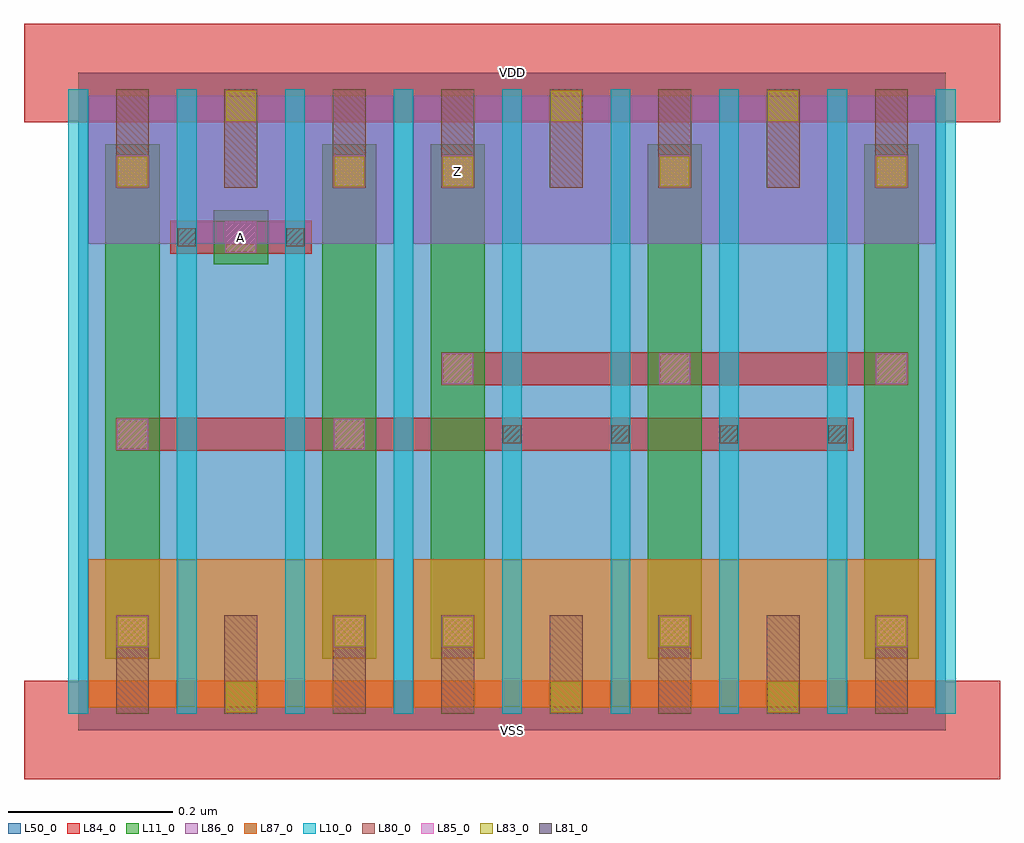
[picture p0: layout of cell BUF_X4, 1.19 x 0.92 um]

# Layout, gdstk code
import gdstk
lib = gdstk.Library(unit=1e-6, precision=1e-09)
def R(c, l, rs):  # rectangles x0, y0, x1, y1
    for r in rs: c.add(gdstk.rectangle(r[:2], r[2:], *l))
def A(c, l, x, y, w, h, nx, ny, dx, dy):  # array of equal rectangles
    R(c, l, [(x+i*dx, y+j*dy, x+i*dx+w, y+j*dy+h) for i in range(nx) for j in range(ny)])
L10_0 = (10, 0)
L11_0 = (11, 0)
L50_0 = (50, 0)
L80_0 = (80, 0)
L81_0 = (81, 0)
L83_0 = (83, 0)
L84_0 = (84, 0)
L85_0 = (85, 0)
L86_0 = (86, 0)
L87_0 = (87, 0)

buf_x4 = lib.new_cell('BUF_X4')
A(buf_x4, L10_0, -0.012, 0.02, 0.024, 0.76, 9, 1, 0.132, 0)
A(buf_x4, L11_0, 0.429, 0.087, 0.066, 0.626, 3, 1, 0.264, 0)
R(buf_x4, L11_0, [(0.033,0.087,0.099,0.713), (0.297,0.087,0.363,0.713), (0.165,0.567,0.231,0.633)])
R(buf_x4, L50_0, [(0,0,1.056,0.8)])
A(buf_x4, L80_0, 0.046, 0.02, 0.04, 0.12, 8, 2, 0.132, 0.64)
A(buf_x4, L81_0, 0.517, 0.349, 0.022, 0.022, 4, 1, 0.132, 0)
R(buf_x4, L81_0, [(0.121,0.589,0.143,0.611), (0.253,0.589,0.275,0.611)])
A(buf_x4, L83_0, 0.444, 0.102, 0.036, 0.036, 3, 2, 0.264, 0.56)
R(buf_x4, L83_0, [(0.18,0.022,0.216,0.058), (0.576,0.022,0.612,0.058), (0.84,0.022,0.876,0.058), (0.048,0.102,0.084,0.138), (0.312,0.102,0.348,0.138), (0.048,0.662,0.084,0.698), (0.312,0.662,0.348,0.698), (0.18,0.742,0.216,0.778), (0.576,0.742,0.612,0.778), (0.84,0.742,0.876,0.778)])
A(buf_x4, L84_0, 0.442, 0.1, 0.04, 0.04, 3, 2, 0.264, 0.56)
R(buf_x4, L84_0, [(-0.066,-0.06,1.122,0.06), (0.046,0.1,0.086,0.14), (0.31,0.1,0.35,0.14), (0.046,0.34,0.944,0.38), (0.442,0.42,1.01,0.46), (0.112,0.58,0.284,0.62), (0.046,0.66,0.086,0.7), (0.31,0.66,0.35,0.7), (-0.066,0.74,1.122,0.86)])
A(buf_x4, L85_0, 0.443, 0.101, 0.038, 0.038, 3, 2, 0.264, 0.32)
A(buf_x4, L85_0, 0.443, 0.661, 0.038, 0.038, 3, 1, 0.264, 0)
R(buf_x4, L85_0, [(0.047,0.101,0.085,0.139), (0.311,0.101,0.349,0.139), (0.047,0.341,0.085,0.379), (0.311,0.341,0.349,0.379), (0.179,0.581,0.217,0.619), (0.047,0.661,0.085,0.699), (0.311,0.661,0.349,0.699)])
R(buf_x4, L86_0, [(0.012,0.592,0.384,0.772), (0.408,0.592,1.044,0.772)])
R(buf_x4, L87_0, [(0.012,0.028,0.384,0.208), (0.408,0.028,1.044,0.208)])
buf_x4.add(gdstk.Label('VDD', (0.528,0.8), layer=88, texttype=0))
buf_x4.add(gdstk.Label('VSS', (0.528,0), layer=88, texttype=0))
buf_x4.add(gdstk.Label('Z', (0.462,0.68), layer=31, texttype=0))
buf_x4.add(gdstk.Label('A', (0.198,0.6), layer=31, texttype=0))

lib.write_gds('BUF_X4.gds')
